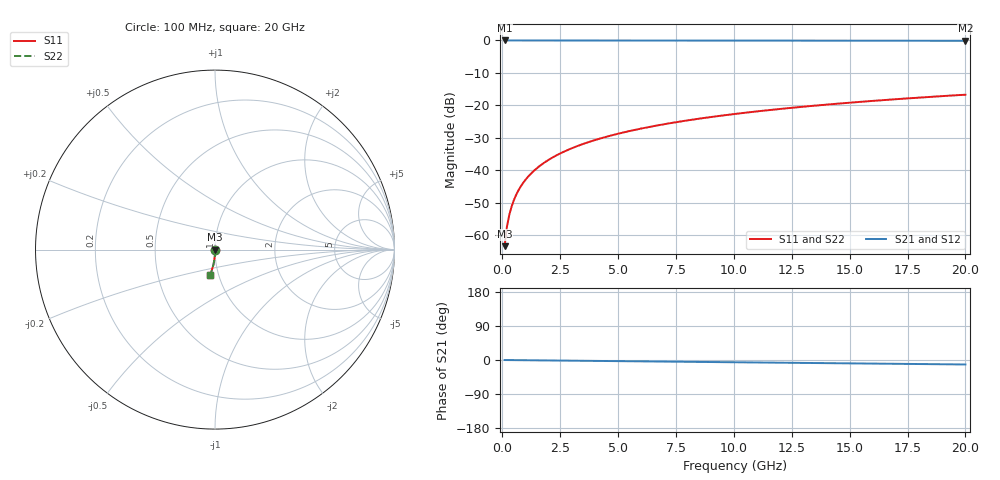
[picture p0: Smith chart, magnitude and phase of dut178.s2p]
! Touchstone file exported from HFSS 2026.1.0
!  File:  C:/ffzhzh/LocalFiles/Ansys_Project_Files/temp_train_TSV_178_1782991197_42984.aedt
!  Generated:  07:21:13 PM Jul  2, 2026
!  Design:  TSV
!  Project:  temp_train_TSV_178_1782991197_42984
! Variables:
!  h_bsmrdl = 2um
!  h_ox = 20um
!  h_rdl = 5um
!  h_sub = 89.86um
!  h_tmrdl = 5um
!  h_tsv = 89.86um
!  h_via = 3um
!  l_bsmrdl = 300um
!  l_sub = 429.98um
!  l_tmrdl = 200um
!  m_sub = 200um
!  pitch = 34.4um
!  r_tsv = 14.99um
!  s_tmrdl = 10um
!  w_bsmrdl = 18um
!  w_sub = 500um
!  w_tmrdl = 12um
!  x_tsv_center1 = 206um
!  x_tsv_center2 = 524um
!  x_tsv_center3 = 736um
!  x_tsv_center4 = 1054um
!  x_tsv_center5 = 1266um
!  x_tsv_center6 = 1584um
# GHz S MA R 50.000000
! Terminal data exported
! Port[1] = TSV1_1_T1
! Port[2] = TSV1_1_T2
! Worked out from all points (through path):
!   200 points, 100 MHz to 20 GHz, reference 50 ohm
!   highest |S21| = 0.00 dB at 100 MHz (marker M1); lowest = -0.1 dB at 20 GHz (marker M2)
!   group delay of S21, straight-line fit = 1.64 ps
!   lowest |S11| = -63.3 dB at 100 MHz (marker M3), VSWR 1.00, Z = 50 - j0.0676 ohm
!   |S11| at or under -10 dB: start of sweep to end of sweep
!   |S22| runs from -63.3 to -16.7 dB; largest |S21 - S12| = 5e-15
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0.1  0.0006819 -82.1  0.9999 -0.1  0.9999 -0.1  0.0006819 -82.1
! Gamma 0 0 0 0
! Port Impedance 50 0 50 0
0.2  0.001363 -85.1  0.9999 -0.1  0.9999 -0.1  0.001363 -85.1
0.3  0.002059 -85.9  0.9998 -0.2  0.9998 -0.2  0.002059 -85.9
0.4  0.002768 -86.3  0.9998 -0.2  0.9998 -0.2  0.002768 -86.3
0.5  0.003487 -86.5  0.9998 -0.3  0.9998 -0.3  0.003487 -86.5
0.7  0.004946 -87.0  0.9997 -0.4  0.9997 -0.4  0.004946 -87.0
0.8  0.005682 -87.3  0.9997 -0.5  0.9997 -0.5  0.005682 -87.3
1  0.007157 -87.7  0.9996 -0.6  0.9996 -0.6  0.007157 -87.7
1.2  0.008634 -88.1  0.9996 -0.7  0.9996 -0.7  0.008634 -88.1
1.4  0.01011 -88.5  0.9995 -0.8  0.9995 -0.8  0.01011 -88.5
1.7  0.01232 -88.9  0.9995 -1.0  0.9995 -1.0  0.01232 -88.9
2  0.01454 -89.3  0.9994 -1.2  0.9994 -1.2  0.01454 -89.3
2.7  0.0197 -90.0  0.9993 -1.6  0.9993 -1.6  0.0197 -90.0
3.5  0.0256 -90.7  0.999 -2.1  0.999 -2.1  0.0256 -90.7
4.2  0.03077 -91.2  0.9988 -2.5  0.9988 -2.5  0.03077 -91.2
5  0.03668 -91.8  0.9986 -3.0  0.9986 -3.0  0.03668 -91.8
6.8  0.04999 -93.0  0.9979 -4.1  0.9979 -4.1  0.04999 -93.0
8.3  0.06107 -94.0  0.9971 -4.9  0.9971 -4.9  0.06107 -94.0
10.1  0.07434 -95.2  0.9961 -6.0  0.9961 -6.0  0.07434 -95.2
13.4  0.09854 -97.2  0.9939 -8.0  0.9939 -8.0  0.09854 -97.2
16.7  0.1225 -99.2  0.991 -9.9  0.991 -9.9  0.1225 -99.2
20  0.1463 -101.2  0.9876 -11.8  0.9876 -11.8  0.1463 -101.2
